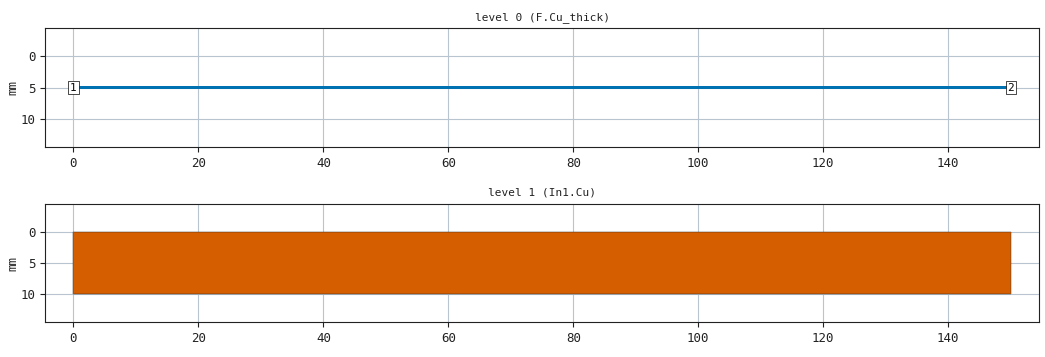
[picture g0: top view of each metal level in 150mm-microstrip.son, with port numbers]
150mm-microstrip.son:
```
FTYP SONPROJ 19 ! Sonnet Project File
VER 18.54
HEADER
LIC antikernel2.1.51813
DAT 07/19/2022 20:57:41
BUILT_BY_CREATED xgeom 18.54 07/19/2022 15:32:15
BUILT_BY_SAVED sonnet 18.54
MDATE 07/19/2022 20:57:41
HDATE 07/19/2022 20:57:41
END HEADER
DIM
ANG DEG
CAP PF
CON /OH
FREQ GHZ
IND NH
LNG MM
RES OH
END DIM
CONTROL
VARSWP
OPTIONS  -dj
SPEED 1
CACHE_ABS 2
Q_ACC N
END CONTROL
GEO
SYM
DRP1 LEFT NONE 5
DRP1 RIGHT NONE 5
TMET "Free Space" 0 FREESPACE 376.7303136 0 0 0
BMET "Free Space" 0 FREESPACE 376.7303136 0 0 0
MET "Copper_1oz_thick_up" 1 TMM 58000000 0.5 0.035 2
MET "Copper_1oz+plated_thin" 4 NOR 58000000 0.5 0.0432 
MET "Copper_0.5oz_thin" 2 NOR 58000000 0.5 0.0175 
MET "Copper_1oz+plated_thick_down" 3 TMM 58000000 0.5 0.0432 2 CDVY TDWN
BOX 4 150 10 1200 200 20 0
      10 1 1 0 0 0 0 "Air"
      0.2021 4.49 1 0.016 0 0 0 "Shengyi S1000-2M"
      1.1938 4.49 1 0.016 0 0 0 "Shengyi S1000-2M"
      0.2021 4.49 1 0.016 0 0 0 "Shengyi S1000-2M"
      10 1 1 0 0 0 0 "Air"
TECHLAY METAL F.Cu_thick <UNSPECIFIED> -1 -65534 CAD F.Cu drawing 
0 0 0 N 96 1 1 100 100 0 0 0 Y
END
END
TECHLAY METAL F.Cu_thin <UNSPECIFIED> -2 -65534 CAD F.Cu_thin drawing 
0 0 1 N 100 1 1 100 100 0 0 0 Y
END
END
TECHLAY VIA Via1 <UNSPECIFIED> -7 -65534 CAD Via1 drawing 
VIA POLYGON
0 0 -1 N 102 1 1 100 100 0 0 0 Y
TOLEVEL 3 RING NOCOVERS
END
END
TECHLAY METAL In1.Cu <UNSPECIFIED> -3 -65534 CAD In1.Cu drawing 
1 0 2 N 105 1 1 100 100 0 0 0 Y
END
END
TECHLAY METAL In2.Cu <UNSPECIFIED> -4 -65534 CAD In2.Cu drawing 
2 0 2 N 108 1 1 100 100 0 0 0 Y
END
END
TECHLAY METAL B.Cu_thick <UNSPECIFIED> -5 -65534 CAD B.Cu drawing 
3 0 3 N 111 1 1 100 100 0 0 0 Y
END
END
TECHLAY METAL B.Cu_thin <UNSPECIFIED> -6 -65534 CAD B.Cu_thin drawing 
3 0 1 N 113 1 1 100 100 0 0 0 Y
END
END
LORGN 0 10 U 
POR1 BOX
POLY 66 1
3
1 50 0 0 0 0 5 
POR1 BOX
POLY 66 1
1
2 50 0 0 0 150 5 
NUM 2
0 5 0 N 66 1 1 100 100 0 0 0 Y
TLAYNAM F.Cu_thick INH
0 4.8
150 4.8
150 5.2
0 5.2
0 4.8
END
1 5 2 N 81 1 1 100 100 0 0 0 Y
TLAYNAM In1.Cu INH
0 0
150 0
150 10
0 10
0 0
END
END GEO
OPT
MAX 100
END OPT
VARSWP
ENABLED Y
FREQ Y AN SWEEP 1.0 10.0 1.0
FREQ Y AY ABS_ENTRY 0.01 10.0 -1 300 
END
END VARSWP
```
